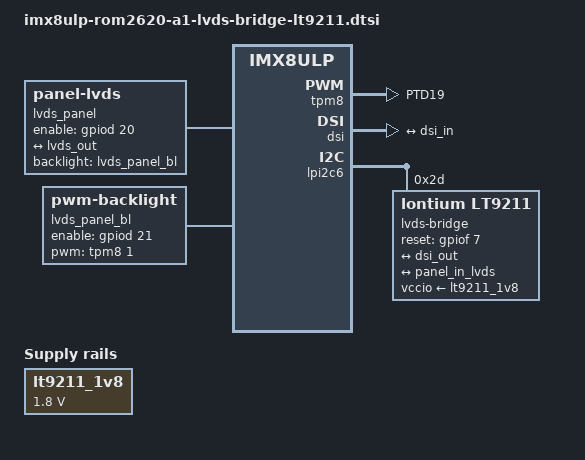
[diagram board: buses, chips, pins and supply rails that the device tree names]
/ {
	lt9211_1v8: regulator-lt9211 {
		compatible = "regulator-fixed";
		regulator-name = "LVDS_BRIDGE";
		regulator-min-microvolt = <1800000>;
		regulator-max-microvolt = <1800000>;
		regulator-always-on;
	};

	lvds_panel: lvds-panel {
		compatible = "panel-lvds";
		pinctrl-names = "default";
		pinctrl-0 = <&pinctrl_lvdspanel>;
		backlight = <&lvds_panel_bl>;
		enable-gpios = <&gpiod 20 GPIO_ACTIVE_HIGH>;
		data-mapping = "vesa-24";

		port {
			panel_in_lvds: endpoint {
				remote-endpoint = <&lvds_out>;
			};
		};
	};

	lvds_panel_bl: bl {
		compatible = "pwm-backlight";
		pwms = <&tpm8 1 1000000 0>;
		pinctrl-names = "default";
		pinctrl-0 = <&pinctrl_lvdsbacklight>;
		enable-gpios = <&gpiod 21 GPIO_ACTIVE_HIGH>;
		brightness-levels = < 0  1  2  3  4  5  6  7  8  9
				     10 11 12 13 14 15 16 17 18 19
				     20 21 22 23 24 25 26 27 28 29
				     30 31 32 33 34 35 36 37 38 39
				     40 41 42 43 44 45 46 47 48 49
				     50 51 52 53 54 55 56 57 58 59
				     60 61 62 63 64 65 66 67 68 69
				     70 71 72 73 74 75 76 77 78 79
				     80 81 82 83 84 85 86 87 88 89
				     90 91 92 93 94 95 96 97 98 99
				    100>;
		default-brightness-level = <80>;
		status = "okay";
	};
};

&per_bridge5 {
	tpm8: pwm@2da80000 {
		compatible = "fsl,imx8ulp-pwm", "fsl,imx7ulp-pwm";
		reg = <0x2da80000 0x10000>;
		clocks = <&pcc5 IMX8ULP_CLK_TPM8>;
		clock-names = "ipg";
		assigned-clocks = <&pcc5 IMX8ULP_CLK_TPM8>;
		assigned-clock-parents =  <&cgc1 IMX8ULP_CLK_SOSC_DIV2>;
		assigned-clock-rates = <24000000>;
		status = "disabled";
	};
};

&tpm8 {
	pinctrl-names = "default";
	pinctrl-0 = <&pinctrl_pwm>;
	#pwm-cells = <3>;
	status = "okay";
};

&dsi {
	status = "okay";

	ports {
		port@1 {
			reg = <1>;

			dsi_out: endpoint {
				remote-endpoint = <&dsi_in>;
			};
		};
	};
};

&lpi2c6 {
	lvds-bridge@2d {
		compatible = "lontium,lt9211";
		reg = <0x2d>;
		pinctrl-names = "default";
		pinctrl-0 = <&pinctrl_lvdsbridge>;
		vccio-supply = <&lt9211_1v8>;
		reset-gpios = <&gpiof 7 GPIO_ACTIVE_HIGH>;
		rgd_capital_fst = <0x400>;
		ports {
			#address-cells = <1>;
			#size-cells = <0>;
			port@0 {
				reg = <0>;
				dsi_in: endpoint {
					remote-endpoint = <&dsi_out>;
				};
			};

			port@2 {
				reg = <2>;
				lvds_out: endpoint {
					remote-endpoint = <&panel_in_lvds>;
				};
			};
		};
	};
};

&iomuxc1 {
	pinctrl_pwm: pwmgrp {
		fsl,pins = <
			MX8ULP_PAD_PTD19__TPM8_CH1	0x42 /* DISP_BL_PWM */
		>;
	};

	pinctrl_lvdsbridge: lvdsbridgegrp {
		fsl,pins = <
			MX8ULP_PAD_PTF7__PTF7		0x2 /* LVDS_RST */
		>;
	};

	pinctrl_lvdspanel: lvdspanelgrp {
		fsl,pins = <
			MX8ULP_PAD_PTD20__PTD20		0x2 /* DISP_VDD_EN */
		>;
	};

	pinctrl_lvdsbacklight: lvdsbacklightgrp {
		fsl,pins = <
			MX8ULP_PAD_PTD21__PTD21		0x2 /* DISP_BL_EN */
		>;
	};
};
